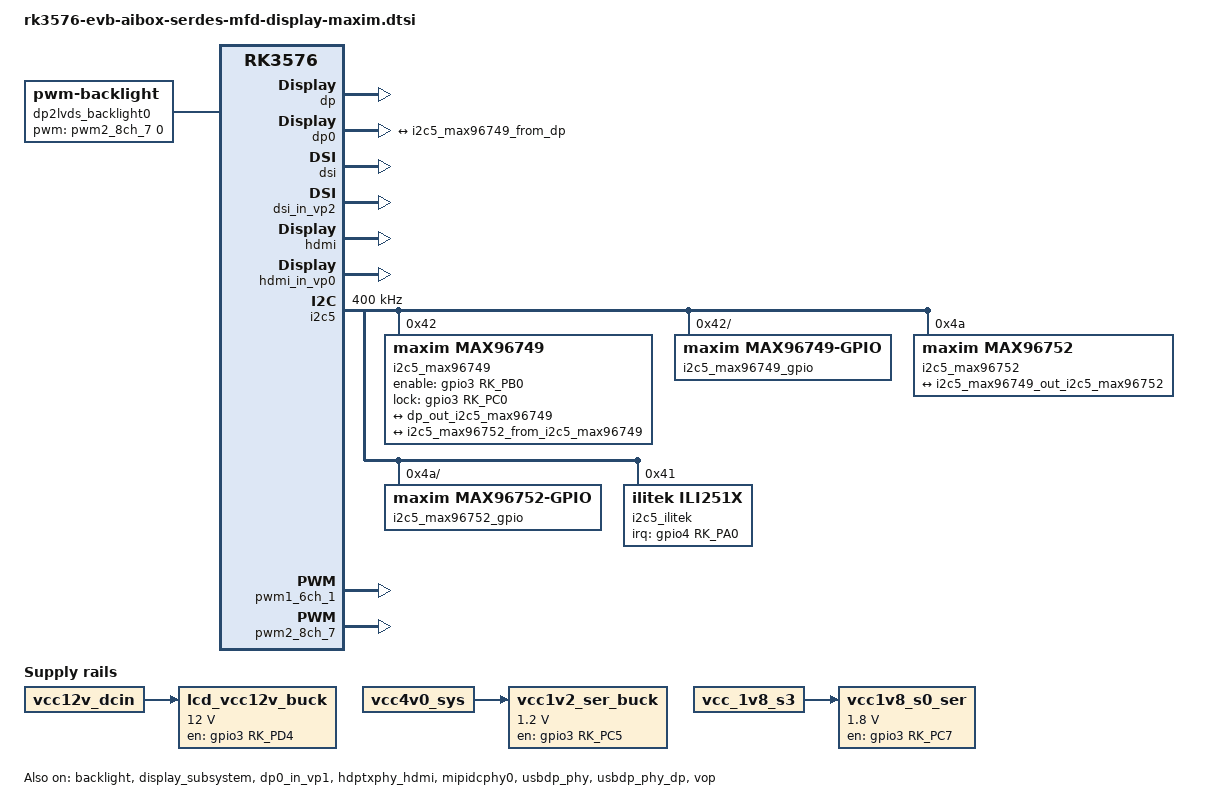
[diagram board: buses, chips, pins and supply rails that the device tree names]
// SPDX-License-Identifier: (GPL-2.0+ OR MIT)
/*
 * Copyright (c) 2026 Rockchip Electronics Co., Ltd.
 *
 */

/ {
	dp2lvds_backlight0: dp2lvds_backlight0 {
		compatible = "pwm-backlight";
		brightness-levels = <
			  0  20  20  21  21  22  22  23
			 23  24  24  25  25  26  26  27
			 27  28  28  29  29  30  30  31
			 31  32  32  33  33  34  34  35
			 35  36  36  37  37  38  38  39
			 40  41  42  43  44  45  46  47
			 48  49  50  51  52  53  54  55
			 56  57  58  59  60  61  62  63
			 64  65  66  67  68  69  70  71
			 72  73  74  75  76  77  78  79
			 80  81  82  83  84  85  86  87
			 88  89  90  91  92  93  94  95
			 96  97  98  99 100 101 102 103
			104 105 106 107 108 109 110 111
			112 113 114 115 116 117 118 119
			120 121 122 123 124 125 126 127
			128 129 130 131 132 133 134 135
			136 137 138 139 140 141 142 143
			144 145 146 147 148 149 150 151
			152 153 154 155 156 157 158 159
			160 161 162 163 164 165 166 167
			168 169 170 171 172 173 174 175
			176 177 178 179 180 181 182 183
			184 185 186 187 188 189 190 191
			192 193 194 195 196 197 198 199
			200 201 202 203 204 205 206 207
			208 209 210 211 212 213 214 215
			216 217 218 219 220 221 222 223
			224 225 226 227 228 229 230 231
			232 233 234 235 236 237 238 239
			240 241 242 243 244 245 246 247
			248 249 250 251 252 253 254 255
		>;
		default-brightness-level = <200>;
	};

	lcd_vcc12v_buck: lcd_vcc12v-buck {
		compatible = "regulator-fixed";
		regulator-name = "lcd_vcc12v_buck";
		regulator-boot-on;
		regulator-always-on;
		regulator-min-microvolt = <12000000>;
		regulator-max-microvolt = <12000000>;
		enable-active-high;
		gpio = <&gpio3 RK_PD4 GPIO_ACTIVE_HIGH>;
		vin-supply = <&vcc12v_dcin>;
		pinctrl-names = "default";
		pinctrl-0 = <&des12v_poweren_gpio>;
		regulator-state-mem {
			regulator-off-in-suspend;
			regulator-suspend-microvolt = <12000000>;
		};
	};

	vcc1v2_ser_buck: vcc1v2-ser-buck {
		compatible = "regulator-fixed";
		regulator-name = "vcc1v2_ser_buck";
		regulator-boot-on;
		regulator-always-on;
		regulator-min-microvolt = <1200000>;
		regulator-max-microvolt = <1200000>;
		enable-active-high;
		gpio = <&gpio3 RK_PC5 GPIO_ACTIVE_HIGH>;
		vin-supply = <&vcc4v0_sys>;
		pinctrl-names = "default";
		pinctrl-0 = <&ser1v2_poweren_gpio>;
		regulator-state-mem {
			regulator-off-in-suspend;
			regulator-suspend-microvolt = <1200000>;
		};
	};

	vcc1v8_s0_ser: vcc1v8-s0-ser {
		compatible = "regulator-fixed";
		regulator-name = "vcc_1v8_s0_ser";
		regulator-boot-on;
		regulator-always-on;
		regulator-min-microvolt = <1800000>;
		regulator-max-microvolt = <1800000>;
		enable-active-high;
		gpio = <&gpio3 RK_PC7 GPIO_ACTIVE_HIGH>;
		vin-supply = <&vcc_1v8_s3>;
		pinctrl-names = "default";
		pinctrl-0 = <&ser1v8_poweren_gpio>;
		regulator-state-mem {
			regulator-off-in-suspend;
			regulator-suspend-microvolt = <1800000>;
		};
	};
};

&backlight {
	pwms = <&pwm1_6ch_1 0 25000 0>;
	status = "okay";
};

&display_subsystem {
	status = "okay";
};

&dp {
	//split-mode;
	force-hpd;

	status = "okay";
};

&dp0 {
	status = "okay";

	ports {
		port@1 {
			reg = <1>;

			dp_out_i2c5_max96749: endpoint {
				link-frequencies = /bits/ 64 <2700000000>;
				remote-endpoint = <&i2c5_max96749_from_dp>;
			};
		};
	};
};

&dp0_in_vp0 {
	status = "disabled";
};

&dp0_in_vp1 {
	status = "okay";
};

&dp0_in_vp2 {
	status = "disabled";
};

&dp2lvds_backlight0 {
	pwms = <&pwm2_8ch_7 0 25000 0>;
	status = "okay";
};

/*
 * mipi_dcphy needs to be enabled
 * when dsi is enabled
 */
&dsi {
	status = "okay";
};

&dsi_in_vopl {
	status = "disabled";
};

&dsi_in_vp0 {
	status = "disabled";
};

&dsi_in_vp1 {
	status = "disabled";
};

&dsi_in_vp2 {
	status = "okay";
};

&edp {
	//split-mode;
	force-hpd;
	status = "disabled";
};

&edp_in_vp0 {
	status = "disabled";
};

&edp_in_vp1 {
	status = "disabled";
};

&edp_in_vp2 {
	status = "disabled";
};

&hdmi {
	status = "okay";
	enable-gpios = <&gpio4 RK_PC4 GPIO_ACTIVE_HIGH>;
	rockchip,sda-falling-delay-ns = <360>;
};

&hdmi_in_vp0 {
	status = "okay";
};

&hdmi_in_vp1 {
	status = "disabled";
};

&hdmi_in_vp2 {
	status = "disabled";
};

&hdptxphy {
	status = "disabled";
};

&hdptxphy_hdmi {
	status = "okay";
};

&i2c5 {
	pinctrl-names = "default";
	pinctrl-0 = <&i2c5m3_xfer>;
	clock-frequency = <400000>;
	status = "okay";

	i2c5_max96749: i2c5-max96749@42 {
		compatible = "maxim,max96749";
		reg = <0x42>;
		pinctrl-names = "default";
		pinctrl-0 = <&i2c5_serdes_pins>;
		enable-gpios = <&gpio3 RK_PB0 GPIO_ACTIVE_HIGH>;
		lock-gpios = <&gpio3 RK_PC0 GPIO_ACTIVE_HIGH>;
		#address-cells = <1>;
		#size-cells = <0>;
		id-serdes-bridge-split = <0x01>;
		status = "okay";

		serdes-init-sequence = [
			//Set TX_STR_SEL_X to 0
			00A3	0000
			//Set TX_STR_SEL_Y to 1
			00A7	0001

			//INFOFR TX_SRC_ID0:1:2
			00C2	0001
			//CC TX_SRC_ID0:1:2
			00D2	0002
			//IIC X TX_SRC_ID0:1:2
			00EA	0001
			//IIC Y TX_SRC_ID0:1:2
			00F2	0002

			00B2	0003
			00BA	0003
			00CA	0003
			00C2	0003
			00D2	0003
			00DA	0003
			00E2	0003
			00EA	0003
			00F2	0003
			//Set X_VID_LINK_SEL to 0
			0100	0061
			//Set Y_VID_LINK_SEL to 1
			0110	0063

			//Turn off video
			6420	0010
			//Disable MST mode
			7019	0000
			//7019	0001	//Set MST_FUNCTION_ENABLE to 1
			//7904	0001	// Set MST_PAYLOAD_ID_0 to 01
			//7908	0002	// Set MST_PAYLOAD_ID_1 to 01
			//Disable MST_VS0_DTG_ENABLE
			7A14	0000
			//Disable LINK_ENABLE
			7000	0000
			//Reset DPRX core (VIDEO_INPUT_RESET)
			7054	0001
			ffff	f000	//delay 0xf000 us
			//Set MAX_LINK_RATE to 2.7Gb/s
			7074	000A
			//Set MAX_LINK_COUNT to 4
			7070	0004
			//Set ASYM_CTRL_PROP_GAIN to 000A
			04D0	000A
			05D0	000A
			//Set AEQ time to 16ms
			6064	0000
			6065	0000
			6164	0000
			6165	0000
			6264	0000
			6265	0000
			6364	0000
			6365	0000
			//Enable LINK_ENABLE
			7000	0001
			//delay 1000
			//Disable MSA reset
			7A18	0005
			//Adjust VS0_DMA_HSYNC
			7A28	00FF
			7A2A	00FF
			//Adjust VS0_DMA_VSYNC
			7A24	00FF
			7A27	000F
			//Enable MST_VS0_DTG_ENABLE
			7A14	0001
			//set EDP Video Control
			6421	0001
			//Turn on video
			6420	0013
			//delay 100
			//Turn off video
			6420	0010
			//delay 100
			//Turn on video
			6420	0013
			6421	0003
		];

		i2c5_max96749_pinctrl: i2c5-max96749-pinctrl {
			compatible = "maxim,max96749-pinctrl";
			pinctrl-names = "init","sleep";
			pinctrl-0 = <&i2c5_max96749_pinctrl_pins>;
			pinctrl-1 = <&i2c5_max96749_pinctrl_pins>;
			status = "okay";

			i2c5_max96749_pinctrl_pins: pinctrl-pins {
				i2c {
					groups = "MAX96749_I2C";
					function = "MAX96749_I2C";
				};
				lcd-bl-pwm {
					pins = "MAX96749_MFP0";
					function = "SER_TXID4_TO_DES_LINKA";
				};
				tp-int {
					pins = "MAX96749_MFP1";
					function = "DES_RXID1_TO_SER_LINKA";
				};
			};

			i2c5_max96749_gpio: i2c5-max96749-gpio {
				compatible = "maxim,max96749-gpio";
				status = "okay";

				gpio-controller;
				#gpio-cells = <2>;
				gpio-ranges = <&i2c5_max96749_pinctrl 0 220 25>;
			};
		};

		i2c5_max96749_bridge: i2c5-max96749-bridge {
			compatible = "maxim,max96749-bridge";
			status = "okay";
			ports {
				#address-cells = <1>;
				#size-cells = <0>;

				port@0 {
					reg = <0>;
					i2c5_max96749_from_dp: endpoint {
						remote-endpoint = <&dp_out_i2c5_max96749>;
					};
				};
				port@1 {
					reg = <1>;
					i2c5_max96749_out_i2c5_max96752: endpoint {
						remote-endpoint = <&i2c5_max96752_from_i2c5_max96749>;
					};
				};
			};
		};
	};

	i2c5_max96752: i2c5-max96752@4a {
		compatible = "maxim,max96752";
		reg = <0x4a>;
		#address-cells = <1>;
		#size-cells = <0>;
		id-serdes-panel-split = <0x01>;
		link = <0x01>;
		status = "okay";

		serdes-init-sequence = [
			/*max96752 dual oLDI output*/
			0002 0043
			0073 0031
			007b 0031
			007d 0038

			0050 0000
			01ce 004e
			01ea 0004
		];

		i2c5_max96752_pinctrl: i2c5-max96752-pinctrl {
			compatible = "maxim,max96752-pinctrl";
			status = "okay";

			pinctrl-names = "init","sleep";
			pinctrl-0 = <&i2c5_max96752_panel_pins>;
			pinctrl-1 = <&i2c5_max96752_panel_sleep_pins>;

			i2c5_max96752_panel_pins: panel-pins {
				lcd-rst-pin {
					pins = "MAX96752_GPIO10";
					function = "DES_TXID10_OUTPUT_HIGH";
				};
				tp-rst {
					pins = "MAX96752_GPIO5";
					function = "DES_TXID5_OUTPUT_HIGH";
				};
				tp-int {
					pins = "MAX96752_GPIO2";
					function = "DES_TXID1_TO_SER";
				};
				40ms-delay {
					pins = "MAX96752_GPIO15";
					function = "DELAY_40MS";
				};
				lcd-pwr-on {
					pins = "MAX96752_GPIO3";
					function = "DES_TXID3_OUTPUT_HIGH";
				};
				lcd-bl-pwm {
					pins = "MAX96752_GPIO4";
					function = "SER_TO_DES_RXID4";
				};
				lcd_bias_en {
					pins = "MAX96752_GPIO7";
					function = "DES_TXID7_OUTPUT_HIGH";
				};
				lcd_vdd_en {
					pins = "MAX96752_GPIO6";
					function = "DES_TXID6_OUTPUT_HIGH";
				};
			};

			i2c5_max96752_panel_sleep_pins: panel-sleep-pins {
				lcd-rst-pin {
					pins = "MAX96752_GPIO10";
					function = "DES_TXID10_OUTPUT_LOW";
				};
				tp-rst {
					pins = "MAX96752_GPIO5";
					function = "DES_TXID5_OUTPUT_LOW";
				};
				lcd-pwr-on {
					pins = "MAX96752_GPIO3";
					function = "DES_TXID3_OUTPUT_LOW";
				};
			};

			i2c5_max96752_gpio: i2c5-max96752-gpio {
				compatible = "maxim,max96752-gpio";
				status = "okay";

				gpio-controller;
				#gpio-cells = <2>;
				gpio-ranges = <&i2c5_max96752_pinctrl 0 250 15>;
			};
		};

		i2c5_max96752_panel: i2c5-max96752-panel {
			compatible = "maxim,max96752-panel";
			status = "okay";

			backlight = <&dp2lvds_backlight0>;
			panel-size= <346 194>;

			panel-timing {
				clock-frequency = <148500000>;
				hactive = <1920>;
				vactive = <1080>;
				hfront-porch = <140>;
				hsync-len = <40>;
				hback-porch = <100>;
				vfront-porch = <15>;
				vsync-len = <20>;
				vback-porch = <10>;
				hsync-active = <0>;
				vsync-active = <0>;
				de-active = <0>;
				pixelclk-active = <0>;
			};

			port {
				i2c5_max96752_from_i2c5_max96749: endpoint {
					remote-endpoint = <&i2c5_max96749_out_i2c5_max96752>;
				};
			};
		};
	};

	i2c5_ilitek: i2c5-ilitek@41 {
		compatible = "ilitek,ili251x";
		reg = <0x41>;
		interrupt-parent = <&gpio4>;
		interrupts = <RK_PA0 IRQ_TYPE_LEVEL_LOW>;
		pinctrl-names = "default";
		pinctrl-0 = <&touch_gpio_dp>;
		//reset-gpio = <&gpio0 RK_PD1 GPIO_ACTIVE_LOW>;
		ilitek,name = "ilitek_i2c";
		status = "okay";
	};
};

&mipidcphy0 {
	status = "okay";
};

&pinctrl {
	serdes {
		des12v_poweren_gpio: des12v-poweren-gpio {
			rockchip,pins = <3 RK_PD4 RK_FUNC_GPIO &pcfg_pull_down>;
		};

		ser1v2_poweren_gpio: ser1v2-poweren-gpio {
			rockchip,pins = <3 RK_PC5 RK_FUNC_GPIO &pcfg_pull_down>;
		};

		ser1v8_poweren_gpio: ser1v8-poweren-gpio {
			rockchip,pins = <3 RK_PC7 RK_FUNC_GPIO &pcfg_pull_down>;
		};

		/*DP*/
		i2c5_serdes_pins: i2c5-serdes-pins {
			rockchip,pins =
				<3 RK_PB0 RK_FUNC_GPIO &pcfg_pull_up>,/*pwdnb*/
				<3 RK_PB7 RK_FUNC_GPIO &pcfg_pull_up>,/*err*/
				<3 RK_PC0 RK_FUNC_GPIO &pcfg_pull_up>;/*lock*/
		};
	};

	touch {
		touch_gpio_dp: touch-gpio-dp {
			rockchip,pins =
				<4 RK_PA0 RK_FUNC_GPIO &pcfg_pull_up>;
		};
	};
};

/* dsi->serdes->lvds_panel */
&pwm1_6ch_1 {
	status = "okay";
	pinctrl-0 = <&pwm1m0_ch1>;
};

/* dp->serdes->lvds_panel */
&pwm2_8ch_7 {
	pinctrl-0 = <&pwm2m3_ch7>;
	status = "okay";
};

&route_dp0 {
	status = "disabled";
	connect = <&vp1_out_dp0>;
	logo,uboot = "logo.bmp";
	logo,kernel = "logo.bmp";
};

&route_dsi {
	status = "disabled";
	connect = <&vp2_out_dsi>;
	logo,uboot = "logo.bmp";
	logo,kernel = "logo.bmp";
};

&route_hdmi {
	status = "disabled";
	connect = <&vp0_out_hdmi>;
	logo,uboot = "logo.bmp";
	logo,kernel = "logo.bmp";
};

&usbdp_phy {
	maximum-speed = "high-speed";
	rockchip,dp-lane-mux = <0 1 2 3>;
	status = "okay";
};

&usbdp_phy_dp {
	status = "okay";
};

&usbdp_phy_u3 {
	status = "disabled";
};

&vop_mmu {
	status = "okay";
};

&vop {
	status = "okay";
};

&vp1 {
	assigned-clocks = <&cru DCLK_VP1_SRC>;
	assigned-clock-parents = <&cru PLL_VPLL>;
};

&vp2 {
	assigned-clocks = <&cru DCLK_VP2_SRC>;
	assigned-clock-parents = <&cru PLL_GPLL>;
};
